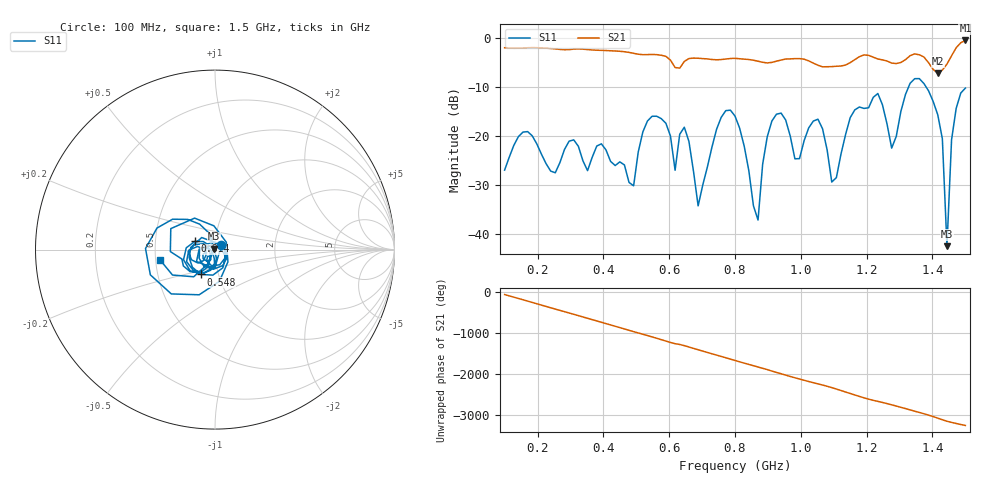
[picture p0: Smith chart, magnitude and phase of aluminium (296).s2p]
! NanoVNA-App
! Date: 2025-09-25 14:57:35
! Start: 100MHz Stop: 1,5GHz Points: 101
! S-Parameter data: F S11 S21 S12 S22
# Hz S RI R 50
!  Frequency  S11_Real  S11_Imag  S21_Real  S21_Imag  S12_Real  S12_Imag  S22_Real  S22_Imag
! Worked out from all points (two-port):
!   101 points, 100 MHz to 1.5 GHz, reference 50 ohm
!   highest |S21| = -0.43 dB at 1.5 GHz (marker M1); lowest = -7.2 dB at 1.416 GHz (marker M2)
!   |S21| within 3 dB of the highest: start of sweep to 573 MHz; 1.459 GHz to end of sweep (the widest 2 of 4)
!   lowest |S11| = -42.5 dB at 1.444 GHz (marker M3), VSWR 1.02, Z = 49.4 + j0.437 ohm
!   |S11| at or under -10 dB: start of sweep to 1.327 GHz; 1.381 GHz to end of sweep
!   S12 and S22 are empty: the file has one direction only
!   S11 on the Smith chart (normalised r, x): 100 MHz: 1.07, +0.06; 548 MHz: 0.82, -0.23; 814 MHz: 0.80, +0.07; 1.5 GHz: 0.53, -0.07
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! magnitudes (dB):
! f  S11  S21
! 100 MHz  -27.0  -1.9
! 338 MHz  -25.1  -2.2
! 492 MHz  -30.2  -3.1
! 548 MHz  -15.9  -3.3
! 576 MHz  -16.4  -3.5
! 618 MHz  -27.0  -6.0
! 646 MHz  -18.2  -4.7
! 688 MHz  -34.3  -4.1
! 800 MHz  -15.9  -4.1
! 814 MHz  -18.4  -4.2
! 870 MHz  -37.2  -4.7
! 912 MHz  -16.9  -4.9
! 1.038 GHz  -16.9  -5.1
! 1.094 GHz  -29.4  -5.8
! 1.234 GHz  -11.3  -4.2
! 1.276 GHz  -22.5  -5.1
! 1.346 GHz  -8.3  -3.2
! 1.416 GHz  -15.6  -7.2
! 1.43 GHz  -20.5  -6.5
! 1.444 GHz  -42.5  -5.3
! 1.458 GHz  -20.7  -3.6
! 1.5 GHz  -10.2  -0.4
